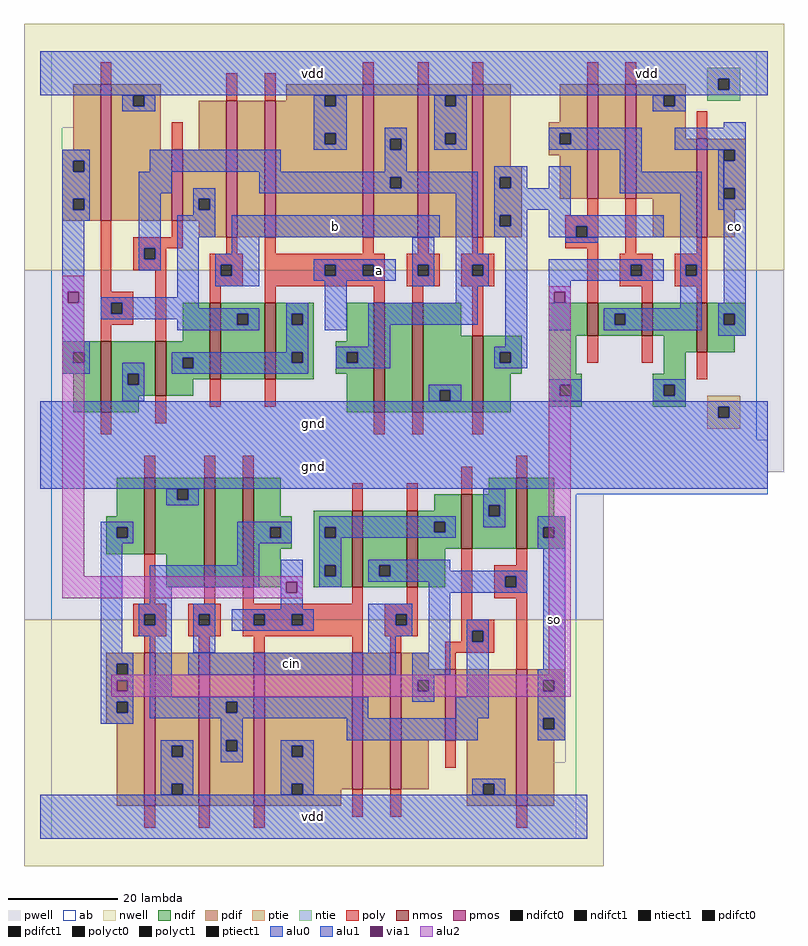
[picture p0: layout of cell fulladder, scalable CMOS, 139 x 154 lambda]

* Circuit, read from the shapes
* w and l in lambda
.subckt fulladder a b cin co gnd so vdd
M1 gnd n1 n2 gnd nfet w=13 l=2
M2 gnd n3 n4 gnd nfet w=14 l=2
M3 n5 n6 gnd gnd nfet w=10 l=2
M4 n7 cin gnd gnd nfet w=20 l=2
M5 n1 b n5 gnd nfet w=14 l=2
M6 n3 n2 n7 gnd nfet w=20 l=2
M7 n5 a n1 gnd nfet w=14 l=2
M8 n8 n2 n9 gnd nfet w=14 l=2
M9 n10 a n6 gnd nfet w=20 l=2
M10 n9 cin n8 gnd nfet w=14 l=2
M11 gnd b n10 gnd nfet w=20 l=2
M12 gnd n3 n9 gnd nfet w=10 l=2
M13 n11 n6 gnd gnd nfet w=14 l=2
M14 so n8 gnd gnd nfet w=13 l=2
M15 n12 n11 gnd gnd nfet w=6 l=2
M16 gnd n4 n12 gnd nfet w=6 l=2
M17 co n12 gnd gnd nfet w=9 l=2
M18 vdd n1 n2 vdd pfet w=25 l=2
M19 vdd n3 n4 n13 pfet w=28 l=2
M20 n1 n6 vdd vdd pfet w=13 l=2
M21 n3 cin vdd n13 pfet w=28 l=2
M22 n14 b n1 vdd pfet w=25 l=2
M23 vdd n2 n3 n13 pfet w=28 l=2
M24 vdd a n14 vdd pfet w=25 l=2
M25 n15 n2 vdd n13 pfet w=25 l=2
M26 n6 a vdd vdd pfet w=28 l=2
M27 n8 cin n15 n13 pfet w=25 l=2
M28 vdd b n6 vdd pfet w=28 l=2
M29 vdd n3 n8 n13 pfet w=13 l=2
M30 n11 n6 vdd vdd pfet w=28 l=2
M31 so n8 vdd n13 pfet w=25 l=2
M32 n16 n11 n12 vdd pfet w=21 l=2
M33 vdd n4 n16 vdd pfet w=21 l=2
M34 co n12 vdd vdd pfet w=18 l=2
.ends

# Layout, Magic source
magic
tech scmos
<< ab >>
rect 5 63 134 77
rect 5 59 7 63
rect 9 59 134 63
rect 5 6 134 59
rect 5 -4 136 6
rect 5 -49 101 -4
rect 5 -53 97 -49
rect 99 -53 101 -49
rect 5 -67 101 -53
<< nwell >>
rect 0 37 139 82
rect 0 -72 106 -27
<< pwell >>
rect 0 0 139 37
rect 0 -4 136 0
rect 0 -27 106 -4
<< poly >>
rect 14 71 16 75
rect 37 68 39 73
rect 44 68 46 73
rect 62 71 64 75
rect 72 71 74 75
rect 82 71 84 75
rect 103 71 105 75
rect 110 71 112 75
rect 27 59 29 64
rect 14 33 16 46
rect 27 43 29 46
rect 123 61 125 66
rect 103 47 105 50
rect 99 45 105 47
rect 99 43 101 45
rect 103 43 105 45
rect 20 41 29 43
rect 20 39 22 41
rect 24 39 26 41
rect 37 40 39 43
rect 44 40 46 43
rect 62 40 64 43
rect 72 40 74 43
rect 82 40 84 43
rect 99 41 105 43
rect 20 37 26 39
rect 14 31 20 33
rect 14 29 16 31
rect 18 29 20 31
rect 14 27 20 29
rect 14 24 16 27
rect 24 24 26 37
rect 34 38 40 40
rect 34 36 36 38
rect 38 36 40 38
rect 34 34 40 36
rect 44 38 66 40
rect 44 36 55 38
rect 57 36 62 38
rect 64 36 66 38
rect 44 34 66 36
rect 70 38 76 40
rect 70 36 72 38
rect 74 36 76 38
rect 70 34 76 36
rect 80 38 86 40
rect 80 36 82 38
rect 84 36 86 38
rect 80 34 86 36
rect 34 31 36 34
rect 44 31 46 34
rect 64 31 66 34
rect 71 31 73 34
rect 14 7 16 11
rect 24 9 26 14
rect 34 12 36 17
rect 44 12 46 17
rect 82 25 84 34
rect 103 31 105 41
rect 110 40 112 50
rect 123 40 125 43
rect 109 38 115 40
rect 109 36 111 38
rect 113 36 115 38
rect 109 34 115 36
rect 119 38 125 40
rect 119 36 121 38
rect 123 36 125 38
rect 119 34 125 36
rect 113 31 115 34
rect 123 31 125 34
rect 103 20 105 25
rect 113 20 115 25
rect 123 17 125 22
rect 64 7 66 11
rect 71 7 73 11
rect 82 7 84 11
rect 22 -1 24 3
rect 33 -1 35 3
rect 40 -1 42 3
rect 22 -24 24 -15
rect 60 -7 62 -2
rect 70 -7 72 -2
rect 80 -4 82 1
rect 90 -1 92 3
rect 33 -24 35 -21
rect 40 -24 42 -21
rect 60 -24 62 -21
rect 70 -24 72 -21
rect 20 -26 26 -24
rect 20 -28 22 -26
rect 24 -28 26 -26
rect 20 -30 26 -28
rect 30 -26 36 -24
rect 30 -28 32 -26
rect 34 -28 36 -26
rect 30 -30 36 -28
rect 40 -26 62 -24
rect 40 -28 42 -26
rect 44 -28 49 -26
rect 51 -28 62 -26
rect 40 -30 62 -28
rect 66 -26 72 -24
rect 66 -28 68 -26
rect 70 -28 72 -26
rect 66 -30 72 -28
rect 80 -27 82 -14
rect 90 -17 92 -14
rect 86 -19 92 -17
rect 86 -21 88 -19
rect 90 -21 92 -19
rect 86 -23 92 -21
rect 80 -29 86 -27
rect 22 -33 24 -30
rect 32 -33 34 -30
rect 42 -33 44 -30
rect 60 -33 62 -30
rect 67 -33 69 -30
rect 80 -31 82 -29
rect 84 -31 86 -29
rect 77 -33 86 -31
rect 77 -36 79 -33
rect 90 -36 92 -23
rect 77 -54 79 -49
rect 22 -65 24 -61
rect 32 -65 34 -61
rect 42 -65 44 -61
rect 60 -63 62 -58
rect 67 -63 69 -58
rect 90 -65 92 -61
<< ndif >>
rect 29 24 34 31
rect 7 22 14 24
rect 7 20 9 22
rect 11 20 14 22
rect 7 18 14 20
rect 9 11 14 18
rect 16 18 24 24
rect 16 16 19 18
rect 21 16 24 18
rect 16 14 24 16
rect 26 21 34 24
rect 26 19 29 21
rect 31 19 34 21
rect 26 17 34 19
rect 36 29 44 31
rect 36 27 39 29
rect 41 27 44 29
rect 36 17 44 27
rect 46 29 53 31
rect 46 27 49 29
rect 51 27 53 29
rect 46 22 53 27
rect 59 24 64 31
rect 46 20 49 22
rect 51 20 53 22
rect 46 17 53 20
rect 57 22 64 24
rect 57 20 59 22
rect 61 20 64 22
rect 57 18 64 20
rect 26 14 31 17
rect 16 11 21 14
rect 59 11 64 18
rect 66 11 71 31
rect 73 25 80 31
rect 96 25 103 31
rect 105 29 113 31
rect 105 27 108 29
rect 110 27 113 29
rect 105 25 113 27
rect 115 25 123 31
rect 73 15 82 25
rect 73 13 76 15
rect 78 13 82 15
rect 73 11 82 13
rect 84 22 91 25
rect 84 20 87 22
rect 89 20 91 22
rect 84 18 91 20
rect 96 18 101 25
rect 117 22 123 25
rect 125 29 132 31
rect 125 27 128 29
rect 130 27 132 29
rect 125 25 132 27
rect 125 22 130 25
rect 117 18 121 22
rect 84 11 89 18
rect 96 16 102 18
rect 96 14 98 16
rect 100 14 102 16
rect 96 12 102 14
rect 115 16 121 18
rect 115 14 117 16
rect 119 14 121 16
rect 115 12 121 14
rect 17 -8 22 -1
rect 15 -10 22 -8
rect 15 -12 17 -10
rect 19 -12 22 -10
rect 15 -15 22 -12
rect 24 -3 33 -1
rect 24 -5 28 -3
rect 30 -5 33 -3
rect 24 -15 33 -5
rect 26 -21 33 -15
rect 35 -21 40 -1
rect 42 -8 47 -1
rect 85 -4 90 -1
rect 75 -7 80 -4
rect 42 -10 49 -8
rect 42 -12 45 -10
rect 47 -12 49 -10
rect 42 -14 49 -12
rect 53 -10 60 -7
rect 53 -12 55 -10
rect 57 -12 60 -10
rect 42 -21 47 -14
rect 53 -17 60 -12
rect 53 -19 55 -17
rect 57 -19 60 -17
rect 53 -21 60 -19
rect 62 -17 70 -7
rect 62 -19 65 -17
rect 67 -19 70 -17
rect 62 -21 70 -19
rect 72 -9 80 -7
rect 72 -11 75 -9
rect 77 -11 80 -9
rect 72 -14 80 -11
rect 82 -6 90 -4
rect 82 -8 85 -6
rect 87 -8 90 -6
rect 82 -14 90 -8
rect 92 -8 97 -1
rect 92 -10 99 -8
rect 92 -12 95 -10
rect 97 -12 99 -10
rect 92 -14 99 -12
rect 72 -21 77 -14
<< pdif >>
rect 9 59 14 71
rect 7 57 14 59
rect 7 55 9 57
rect 11 55 14 57
rect 7 50 14 55
rect 7 48 9 50
rect 11 48 14 50
rect 7 46 14 48
rect 16 69 25 71
rect 16 67 20 69
rect 22 67 25 69
rect 48 69 62 71
rect 48 68 55 69
rect 16 59 25 67
rect 32 59 37 68
rect 16 46 27 59
rect 29 50 37 59
rect 29 48 32 50
rect 34 48 37 50
rect 29 46 37 48
rect 32 43 37 46
rect 39 43 44 68
rect 46 67 55 68
rect 57 67 62 69
rect 46 62 62 67
rect 46 60 55 62
rect 57 60 62 62
rect 46 43 62 60
rect 64 61 72 71
rect 64 59 67 61
rect 69 59 72 61
rect 64 54 72 59
rect 64 52 67 54
rect 69 52 72 54
rect 64 43 72 52
rect 74 69 82 71
rect 74 67 77 69
rect 79 67 82 69
rect 74 62 82 67
rect 74 60 77 62
rect 79 60 82 62
rect 74 43 82 60
rect 84 56 89 71
rect 98 64 103 71
rect 96 62 103 64
rect 96 60 98 62
rect 100 60 103 62
rect 96 58 103 60
rect 84 54 91 56
rect 84 52 87 54
rect 89 52 91 54
rect 84 47 91 52
rect 98 50 103 58
rect 105 50 110 71
rect 112 69 121 71
rect 112 67 117 69
rect 119 67 121 69
rect 112 61 121 67
rect 112 50 123 61
rect 84 45 87 47
rect 89 45 91 47
rect 84 43 91 45
rect 115 43 123 50
rect 125 59 132 61
rect 125 57 128 59
rect 130 57 132 59
rect 125 52 132 57
rect 125 50 128 52
rect 130 50 132 52
rect 125 48 132 50
rect 125 43 130 48
rect 15 -35 22 -33
rect 15 -37 17 -35
rect 19 -37 22 -35
rect 15 -42 22 -37
rect 15 -44 17 -42
rect 19 -44 22 -42
rect 15 -46 22 -44
rect 17 -61 22 -46
rect 24 -50 32 -33
rect 24 -52 27 -50
rect 29 -52 32 -50
rect 24 -57 32 -52
rect 24 -59 27 -57
rect 29 -59 32 -57
rect 24 -61 32 -59
rect 34 -42 42 -33
rect 34 -44 37 -42
rect 39 -44 42 -42
rect 34 -49 42 -44
rect 34 -51 37 -49
rect 39 -51 42 -49
rect 34 -61 42 -51
rect 44 -50 60 -33
rect 44 -52 49 -50
rect 51 -52 60 -50
rect 44 -57 60 -52
rect 44 -59 49 -57
rect 51 -58 60 -57
rect 62 -58 67 -33
rect 69 -36 74 -33
rect 69 -38 77 -36
rect 69 -40 72 -38
rect 74 -40 77 -38
rect 69 -49 77 -40
rect 79 -49 90 -36
rect 69 -58 74 -49
rect 81 -57 90 -49
rect 51 -59 58 -58
rect 44 -61 58 -59
rect 81 -59 84 -57
rect 86 -59 90 -57
rect 81 -61 90 -59
rect 92 -38 99 -36
rect 92 -40 95 -38
rect 97 -40 99 -38
rect 92 -45 99 -40
rect 92 -47 95 -45
rect 97 -47 99 -45
rect 92 -49 99 -47
rect 92 -61 97 -49
<< alu1 >>
rect 3 72 136 77
rect 3 70 127 72
rect 129 70 136 72
rect 3 69 136 70
rect 128 63 132 64
rect 119 59 132 63
rect 7 57 12 59
rect 7 55 9 57
rect 11 55 12 57
rect 7 50 12 55
rect 7 48 9 50
rect 11 48 12 50
rect 7 46 12 48
rect 7 33 11 46
rect 38 43 76 47
rect 7 31 8 33
rect 10 31 11 33
rect 38 40 43 43
rect 35 38 43 40
rect 35 36 36 38
rect 38 36 43 38
rect 35 34 43 36
rect 53 38 68 39
rect 53 36 55 38
rect 57 36 62 38
rect 64 36 68 38
rect 53 35 68 36
rect 7 24 11 31
rect 7 22 12 24
rect 55 26 59 35
rect 86 54 92 56
rect 86 52 87 54
rect 89 52 92 54
rect 96 52 100 56
rect 86 48 100 52
rect 86 47 92 48
rect 86 45 87 47
rect 89 45 92 47
rect 86 43 92 45
rect 96 47 100 48
rect 96 45 117 47
rect 96 43 101 45
rect 103 43 117 45
rect 88 23 92 43
rect 96 38 117 39
rect 96 36 111 38
rect 113 36 117 38
rect 96 35 117 36
rect 130 57 132 59
rect 128 52 132 57
rect 130 50 132 52
rect 96 33 100 35
rect 96 31 97 33
rect 99 31 100 33
rect 96 26 100 31
rect 128 31 132 50
rect 127 29 132 31
rect 127 27 128 29
rect 130 27 132 29
rect 127 25 132 27
rect 7 20 9 22
rect 11 20 12 22
rect 7 18 12 20
rect 86 22 92 23
rect 86 20 87 22
rect 89 20 92 22
rect 86 19 92 20
rect 3 12 136 13
rect 3 10 127 12
rect 129 10 136 12
rect 3 -3 136 10
rect 14 -10 20 -9
rect 14 -12 17 -10
rect 19 -12 20 -10
rect 14 -13 20 -12
rect 94 -10 99 -8
rect 94 -12 95 -10
rect 97 -12 99 -10
rect 14 -33 18 -13
rect 47 -20 51 -16
rect 47 -22 48 -20
rect 50 -22 51 -20
rect 94 -14 99 -12
rect 14 -35 20 -33
rect 14 -37 17 -35
rect 19 -37 20 -35
rect 14 -38 20 -37
rect 14 -40 17 -38
rect 19 -40 20 -38
rect 14 -42 20 -40
rect 14 -44 17 -42
rect 19 -44 20 -42
rect 14 -46 20 -44
rect 47 -25 51 -22
rect 38 -26 53 -25
rect 38 -28 42 -26
rect 44 -28 49 -26
rect 51 -28 53 -26
rect 38 -29 53 -28
rect 63 -26 71 -24
rect 63 -28 68 -26
rect 70 -28 71 -26
rect 63 -30 71 -28
rect 63 -33 68 -30
rect 30 -37 68 -33
rect 95 -36 99 -14
rect 94 -38 99 -36
rect 94 -40 95 -38
rect 97 -40 99 -38
rect 94 -45 99 -40
rect 94 -47 95 -45
rect 97 -47 99 -45
rect 94 -49 99 -47
rect 3 -67 103 -59
<< alu2 >>
rect 7 33 11 36
rect 7 31 8 33
rect 10 31 11 33
rect 7 -19 11 31
rect 96 33 100 34
rect 96 31 97 33
rect 99 31 100 33
rect 7 -20 51 -19
rect 7 -22 48 -20
rect 50 -22 51 -20
rect 7 -23 51 -22
rect 96 -37 100 31
rect 16 -38 100 -37
rect 16 -40 17 -38
rect 19 -40 100 -38
rect 16 -41 100 -40
<< ptie >>
rect 125 12 131 14
rect 125 10 127 12
rect 129 10 131 12
rect 125 8 131 10
<< ntie >>
rect 125 72 131 74
rect 125 70 127 72
rect 129 70 131 72
rect 125 68 131 70
<< nmos >>
rect 14 11 16 24
rect 24 14 26 24
rect 34 17 36 31
rect 44 17 46 31
rect 64 11 66 31
rect 71 11 73 31
rect 103 25 105 31
rect 113 25 115 31
rect 82 11 84 25
rect 123 22 125 31
rect 22 -15 24 -1
rect 33 -21 35 -1
rect 40 -21 42 -1
rect 60 -21 62 -7
rect 70 -21 72 -7
rect 80 -14 82 -4
rect 90 -14 92 -1
<< pmos >>
rect 14 46 16 71
rect 27 46 29 59
rect 37 43 39 68
rect 44 43 46 68
rect 62 43 64 71
rect 72 43 74 71
rect 82 43 84 71
rect 103 50 105 71
rect 110 50 112 71
rect 123 43 125 61
rect 22 -61 24 -33
rect 32 -61 34 -33
rect 42 -61 44 -33
rect 60 -58 62 -33
rect 67 -58 69 -33
rect 77 -49 79 -36
rect 90 -61 92 -36
<< polyct0 >>
rect 22 39 24 41
rect 16 29 18 31
rect 72 36 74 38
rect 82 36 84 38
rect 121 36 123 38
rect 22 -28 24 -26
rect 32 -28 34 -26
rect 88 -21 90 -19
rect 82 -31 84 -29
<< polyct1 >>
rect 101 43 103 45
rect 36 36 38 38
rect 55 36 57 38
rect 62 36 64 38
rect 111 36 113 38
rect 42 -28 44 -26
rect 49 -28 51 -26
rect 68 -28 70 -26
<< ndifct0 >>
rect 19 16 21 18
rect 29 19 31 21
rect 39 27 41 29
rect 49 27 51 29
rect 49 20 51 22
rect 59 20 61 22
rect 108 27 110 29
rect 76 13 78 15
rect 98 14 100 16
rect 117 14 119 16
rect 28 -5 30 -3
rect 45 -12 47 -10
rect 55 -12 57 -10
rect 55 -19 57 -17
rect 65 -19 67 -17
rect 75 -11 77 -9
rect 85 -8 87 -6
<< ndifct1 >>
rect 9 20 11 22
rect 87 20 89 22
rect 128 27 130 29
rect 17 -12 19 -10
rect 95 -12 97 -10
<< ntiect1 >>
rect 127 70 129 72
<< ptiect1 >>
rect 127 10 129 12
<< pdifct0 >>
rect 20 67 22 69
rect 32 48 34 50
rect 55 67 57 69
rect 55 60 57 62
rect 67 59 69 61
rect 67 52 69 54
rect 77 67 79 69
rect 77 60 79 62
rect 98 60 100 62
rect 117 67 119 69
rect 27 -52 29 -50
rect 27 -59 29 -57
rect 37 -44 39 -42
rect 37 -51 39 -49
rect 49 -52 51 -50
rect 49 -59 51 -57
rect 72 -40 74 -38
rect 84 -59 86 -57
<< pdifct1 >>
rect 9 55 11 57
rect 9 48 11 50
rect 87 52 89 54
rect 87 45 89 47
rect 128 57 130 59
rect 128 50 130 52
rect 17 -37 19 -35
rect 17 -44 19 -42
rect 95 -40 97 -38
rect 95 -47 97 -45
<< alu0 >>
rect 18 67 20 69
rect 22 67 24 69
rect 18 66 24 67
rect 53 67 55 69
rect 57 67 59 69
rect 53 62 59 67
rect 75 67 77 69
rect 79 67 81 69
rect 53 60 55 62
rect 57 60 59 62
rect 53 59 59 60
rect 66 61 70 63
rect 66 59 67 61
rect 69 59 70 61
rect 75 62 81 67
rect 115 67 117 69
rect 119 67 121 69
rect 115 66 121 67
rect 75 60 77 62
rect 79 60 81 62
rect 75 59 81 60
rect 96 62 113 63
rect 96 60 98 62
rect 100 60 113 62
rect 96 59 113 60
rect 23 55 47 59
rect 66 55 70 59
rect 21 51 27 55
rect 43 54 83 55
rect 43 52 67 54
rect 69 52 83 54
rect 21 41 25 51
rect 31 50 35 52
rect 43 51 83 52
rect 31 48 32 50
rect 34 48 35 50
rect 31 47 35 48
rect 21 39 22 41
rect 24 39 25 41
rect 21 37 25 39
rect 28 43 35 47
rect 28 32 32 43
rect 71 38 75 43
rect 71 36 72 38
rect 74 36 75 38
rect 14 31 32 32
rect 14 29 16 31
rect 18 30 32 31
rect 18 29 43 30
rect 14 28 39 29
rect 28 27 39 28
rect 41 27 43 29
rect 28 26 43 27
rect 48 29 52 31
rect 48 27 49 29
rect 51 27 52 29
rect 48 22 52 27
rect 71 34 75 36
rect 79 40 83 51
rect 109 55 113 59
rect 109 51 124 55
rect 79 38 85 40
rect 79 36 82 38
rect 84 36 85 38
rect 79 34 85 36
rect 79 31 83 34
rect 63 27 83 31
rect 63 23 67 27
rect 99 42 105 43
rect 120 38 124 51
rect 127 48 128 59
rect 120 36 121 38
rect 123 36 124 38
rect 120 30 124 36
rect 106 29 124 30
rect 106 27 108 29
rect 110 27 124 29
rect 106 26 124 27
rect 27 21 49 22
rect 18 18 22 20
rect 27 19 29 21
rect 31 20 49 21
rect 51 20 52 22
rect 31 19 52 20
rect 57 22 67 23
rect 57 20 59 22
rect 61 20 67 22
rect 57 19 67 20
rect 27 18 52 19
rect 18 16 19 18
rect 21 16 22 18
rect 96 16 102 17
rect 18 13 22 16
rect 74 15 80 16
rect 74 13 76 15
rect 78 13 80 15
rect 96 14 98 16
rect 100 14 102 16
rect 96 13 102 14
rect 115 16 121 17
rect 115 14 117 16
rect 119 14 121 16
rect 115 13 121 14
rect 26 -5 28 -3
rect 30 -5 32 -3
rect 26 -6 32 -5
rect 84 -6 88 -3
rect 84 -8 85 -6
rect 87 -8 88 -6
rect 54 -9 79 -8
rect 39 -10 49 -9
rect 39 -12 45 -10
rect 47 -12 49 -10
rect 39 -13 49 -12
rect 54 -10 75 -9
rect 54 -12 55 -10
rect 57 -11 75 -10
rect 77 -11 79 -9
rect 84 -10 88 -8
rect 57 -12 79 -11
rect 39 -17 43 -13
rect 23 -21 43 -17
rect 23 -24 27 -21
rect 54 -17 58 -12
rect 54 -19 55 -17
rect 57 -19 58 -17
rect 54 -21 58 -19
rect 63 -17 78 -16
rect 63 -19 65 -17
rect 67 -18 78 -17
rect 67 -19 92 -18
rect 63 -20 88 -19
rect 74 -21 88 -20
rect 90 -21 92 -19
rect 21 -26 27 -24
rect 21 -28 22 -26
rect 24 -28 27 -26
rect 21 -30 27 -28
rect 23 -41 27 -30
rect 31 -26 35 -24
rect 74 -22 92 -21
rect 31 -28 32 -26
rect 34 -28 35 -26
rect 31 -33 35 -28
rect 74 -33 78 -22
rect 71 -37 78 -33
rect 81 -29 85 -27
rect 81 -31 82 -29
rect 84 -31 85 -29
rect 71 -38 75 -37
rect 71 -40 72 -38
rect 74 -40 75 -38
rect 23 -42 63 -41
rect 71 -42 75 -40
rect 81 -41 85 -31
rect 23 -44 37 -42
rect 39 -44 63 -42
rect 23 -45 63 -44
rect 79 -45 85 -41
rect 36 -49 40 -45
rect 59 -49 83 -45
rect 25 -50 31 -49
rect 25 -52 27 -50
rect 29 -52 31 -50
rect 25 -57 31 -52
rect 36 -51 37 -49
rect 39 -51 40 -49
rect 36 -53 40 -51
rect 47 -50 53 -49
rect 47 -52 49 -50
rect 51 -52 53 -50
rect 25 -59 27 -57
rect 29 -59 31 -57
rect 47 -57 53 -52
rect 47 -59 49 -57
rect 51 -59 53 -57
rect 82 -57 88 -56
rect 82 -59 84 -57
rect 86 -59 88 -57
<< via1 >>
rect 8 31 10 33
rect 97 31 99 33
rect 48 -22 50 -20
rect 17 -40 19 -38
<< labels >>
rlabel alu1 53 73 53 73 6 vdd
rlabel alu1 53 9 53 9 1 gnd
rlabel alu1 65 37 65 37 6 a
rlabel alu1 57 45 57 45 1 b
rlabel alu1 97 -27 97 -27 2 so
rlabel alu1 53 -63 53 -63 2 vdd
rlabel alu1 53 1 53 1 5 gnd
rlabel alu1 49 -35 49 -35 1 cin
rlabel alu1 114 73 114 73 4 vdd
rlabel alu1 130 45 130 45 1 co
<< end >>
